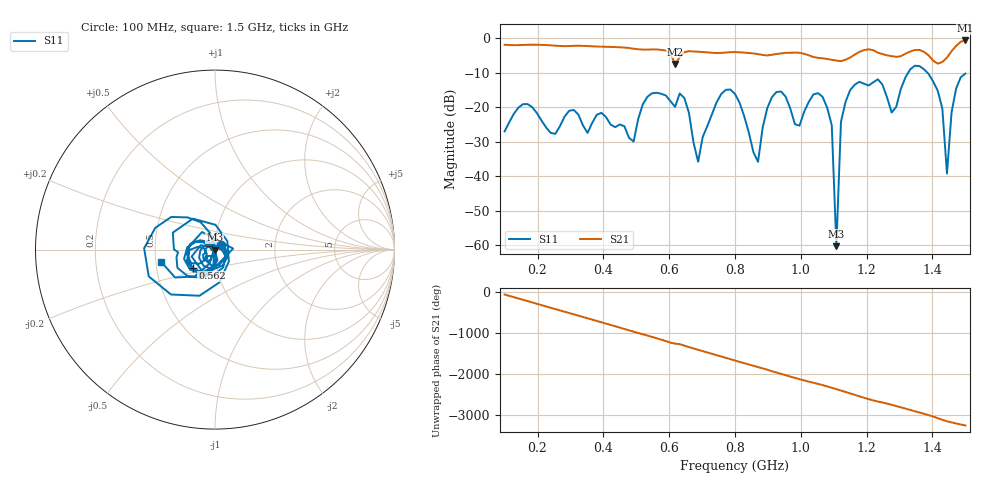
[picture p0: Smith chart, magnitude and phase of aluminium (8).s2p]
! NanoVNA-App
! Date: 2025-09-25 14:55:20
! Start: 100MHz Stop: 1,5GHz Points: 101
! S-Parameter data: F S11 S21 S12 S22
# Hz S RI R 50
!  Frequency  S11_Real  S11_Imag  S21_Real  S21_Imag  S12_Real  S12_Imag  S22_Real  S22_Imag
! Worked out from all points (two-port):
!   101 points, 100 MHz to 1.5 GHz, reference 50 ohm
!   highest |S21| = -0.67 dB at 1.5 GHz (marker M1); lowest = -7.4 dB at 618 MHz (marker M2)
!   |S21| within 3 dB of the highest: start of sweep to 591 MHz; 1.186 GHz to 1.224 GHz (37.27 MHz wide, 3.09 % of centre) (the widest 2 of 4)
!   lowest |S11| = -60.3 dB at 1.108 GHz (marker M3), VSWR 1.00, Z = 49.9 - j0.0394 ohm
!   |S11| at or under -10 dB: start of sweep to 1.326 GHz; 1.384 GHz to end of sweep
!   S12 and S22 are empty: the file has one direction only
!   S11 on the Smith chart (normalised r, x): 100 MHz: 1.07, +0.06; 562 MHz: 0.76, -0.16; 1.5 GHz: 0.54, -0.08
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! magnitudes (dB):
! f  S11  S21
! 100 MHz  -27.0  -1.9
! 338 MHz  -25.3  -2.2
! 492 MHz  -30.0  -3.1
! 562 MHz  -15.8  -3.3
! 576 MHz  -16.1  -3.4
! 618 MHz  -19.9  -7.4
! 646 MHz  -17.3  -4.0
! 688 MHz  -35.8  -3.9
! 800 MHz  -16.2  -4.0
! 870 MHz  -35.8  -4.6
! 912 MHz  -17.1  -4.8
! 1.038 GHz  -16.3  -5.4
! 1.094 GHz  -25.2  -6.3
! 1.108 GHz  -60.3  -6.5
! 1.122 GHz  -24.2  -6.7
! 1.15 GHz  -15.0  -5.6
! 1.276 GHz  -21.6  -5.2
! 1.388 GHz  -10.3  -5.0
! 1.43 GHz  -20.4  -6.9
! 1.444 GHz  -39.2  -5.6
! 1.458 GHz  -21.5  -3.8
! 1.5 GHz  -10.3  -0.7
